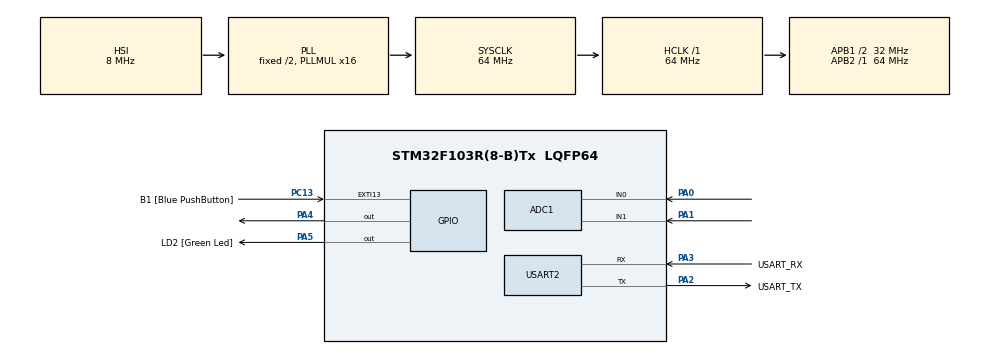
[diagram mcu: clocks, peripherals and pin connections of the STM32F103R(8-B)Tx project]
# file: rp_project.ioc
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ADC1.Channel-0\#ChannelRegularConversion=ADC_CHANNEL_0
ADC1.Channel-2\#ChannelRegularConversion=ADC_CHANNEL_1
ADC1.ContinuousConvMode=DISABLE
ADC1.DiscontinuousConvMode=ENABLE
ADC1.NbrOfConversion=2
ADC1.NbrOfConversionFlag=1
ADC1.Rank-0\#ChannelRegularConversion=1
ADC1.Rank-2\#ChannelRegularConversion=2
ADC1.SamplingTime-0\#ChannelRegularConversion=ADC_SAMPLETIME_1CYCLE_5
ADC1.SamplingTime-2\#ChannelRegularConversion=ADC_SAMPLETIME_1CYCLE_5
ADC1.master=1
Mcu.Family=STM32F1
Mcu.Name=STM32F103R(8-B)Tx
Mcu.Package=LQFP64
NVIC.EXTI15_10_IRQn=true\:0\:0\:false\:false\:true\:true\:true\:true
NVIC.PriorityGroup=NVIC_PRIORITYGROUP_4
PA0-WKUP.Signal=ADCx_IN0
PA1.Signal=ADCx_IN1
PA13.GPIO_Label=TMS
PA13.Mode=Serial_Wire
PA13.Signal=SYS_JTMS-SWDIO
PA14.GPIO_Label=TCK
PA14.Mode=Serial_Wire
PA14.Signal=SYS_JTCK-SWCLK
PA2.GPIO_Label=USART_TX
PA2.GPIO_Mode=GPIO_MODE_AF_PP
PA2.GPIO_PuPd=GPIO_NOPULL
PA2.GPIO_Speed=GPIO_SPEED_FREQ_LOW
PA2.Mode=Asynchronous
PA2.Signal=USART2_TX
PA3.GPIO_Label=USART_RX
PA3.GPIO_Mode=GPIO_MODE_AF_PP
PA3.GPIO_PuPd=GPIO_NOPULL
PA3.GPIO_Speed=GPIO_SPEED_FREQ_LOW
PA3.Mode=Asynchronous
PA3.Signal=USART2_RX
PA4.Signal=GPIO_Output
PA5.GPIO_Label=LD2 [Green Led]
PA5.GPIO_ModeDefaultOutputPP=GPIO_MODE_OUTPUT_PP
PA5.GPIO_PuPd=GPIO_NOPULL
PA5.GPIO_Speed=GPIO_SPEED_FREQ_LOW
PA5.Signal=GPIO_Output
PB3.GPIO_Label=SWO
PB3.Signal=SYS_JTDO-TRACESWO
PC13-TAMPER-RTC.GPIO_Label=B1 [Blue PushButton]
PC13-TAMPER-RTC.GPIO_PuPd=GPIO_NOPULL
PC13-TAMPER-RTC.Signal=GPXTI13
PC14-OSC32_IN.Mode=LSE-External-Oscillator
PC14-OSC32_IN.Signal=RCC_OSC32_IN
PC15-OSC32_OUT.Mode=LSE-External-Oscillator
PC15-OSC32_OUT.Signal=RCC_OSC32_OUT
PD0-OSC_IN.Mode=HSE-External-Clock-Source
PD0-OSC_IN.Signal=RCC_OSC_IN
PD1-OSC_OUT.Mode=HSE-External-Clock-Source
PD1-OSC_OUT.Signal=RCC_OSC_OUT
ProjectManager.HeapSize=0x200
ProjectManager.StackSize=0x400
ProjectManager.TargetToolchain=STM32CubeIDE
RCC.ADCPresc=RCC_ADCPCLK2_DIV8
RCC.AHBFreq_Value=64000000
RCC.APB1CLKDivider=RCC_HCLK_DIV2
RCC.APB1Freq_Value=32000000
RCC.APB1TimFreq_Value=64000000
RCC.APB2Freq_Value=64000000
RCC.APB2TimFreq_Value=64000000
RCC.HCLKFreq_Value=64000000
RCC.PLLMUL=RCC_PLL_MUL16
RCC.RTCClockSelection=RCC_RTCCLKSOURCE_LSE
RCC.SYSCLKFreq_VALUE=64000000
RCC.SYSCLKSource=RCC_SYSCLKSOURCE_PLLCLK
RCC.USBFreq_Value=64000000
SH.ADCx_IN0.0=ADC1_IN0,IN0
SH.ADCx_IN1.0=ADC1_IN1,IN1
TIM1.AutoReloadPreload=TIM_AUTORELOAD_PRELOAD_DISABLE
TIM1.Prescaler=64-1
USART2.VirtualMode=VM_ASYNC
VP_TIM1_VS_ClockSourceINT.Mode=Internal
board=NUCLEO-F103RB

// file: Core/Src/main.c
/* USER CODE BEGIN Header */
/**
  ******************************************************************************
  * @file           : main.c
  * @brief          : Main program body
  ******************************************************************************
  * @attention
  *
  * Copyright (c) 2022 STMicroelectronics.
  * All rights reserved.
  *
  * This software is licensed under terms that can be found in the LICENSE file
  * in the root directory of this software component.
  * If no LICENSE file comes with this software, it is provided AS-IS.
  *
  ******************************************************************************
  */
/* USER CODE END Header */
#include "main.h"

/* USER CODE BEGIN Includes */
#include "stdio.h"
/* USER CODE END Includes */

 ADC_HandleTypeDef hadc1;

TIM_HandleTypeDef htim1;

UART_HandleTypeDef huart2;

void SystemClock_Config(void);
static void MX_GPIO_Init(void);
static void MX_USART2_UART_Init(void);
static void MX_ADC1_Init(void);
static void MX_TIM1_Init(void);
/* USER CODE BEGIN PFP */
#ifdef __GNUC__
/* With GCC, small printf (option LD Linker->Libraries->Small printf
   set to 'Yes') calls __io_putchar() */
#define PUTCHAR_PROTOTYPE int __io_putchar(int ch)
#else
#define PUTCHAR_PROTOTYPE int fputc(int ch, FILE *f)
#endif /* __GNUC__ */

/* USER CODE END PFP */

/* USER CODE BEGIN 0 */
void delay_us(uint16_t time)
{
	__HAL_TIM_SET_COUNTER(&htim1, 0);
	while((__HAL_TIM_GET_COUNTER(&htim1)) < time);
}

uint8_t RH_integral, RH_decimal, T_integral, T_decimal;
uint8_t CheckSUM, Presence = 0;

void Set_Pin_Output(GPIO_TypeDef *GPIOx, uint16_t GPIO_Pin)
{
	GPIO_InitTypeDef GPIO_InitStruct = {0};
	GPIO_InitStruct.Pin = GPIO_Pin;
	GPIO_InitStruct.Mode = GPIO_MODE_OUTPUT_PP;
	GPIO_InitStruct.Speed = GPIO_SPEED_FREQ_LOW;
	HAL_GPIO_Init(GPIOx, &GPIO_InitStruct);
}

void Set_Pin_Input(GPIO_TypeDef *GPIOx, uint16_t GPIO_Pin)
{
	GPIO_InitTypeDef GPIO_InitStruct = {0};
	GPIO_InitStruct.Pin = GPIO_Pin;
	GPIO_InitStruct.Mode = GPIO_MODE_INPUT;
	GPIO_InitStruct.Pull = GPIO_PULLUP;
	HAL_GPIO_Init(GPIOx, &GPIO_InitStruct);
}

void DHT11_Start(void)
{
	Set_Pin_Output(GPIOA, GPIO_PIN_4);
	HAL_GPIO_WritePin(GPIOA, GPIO_PIN_4, GPIO_PIN_RESET);
	HAL_Delay(18);
	HAL_GPIO_WritePin(GPIOA, GPIO_PIN_4, GPIO_PIN_SET);
	delay_us(20);
	Set_Pin_Input(GPIOA, GPIO_PIN_4);
}

uint8_t DHT11_check_Response(void)
{
	uint8_t Response = 0;
	delay_us(40);
	if(!(HAL_GPIO_ReadPin(GPIOA, GPIO_PIN_4)))
	{
		delay_us(80);
		if((HAL_GPIO_ReadPin(GPIOA, GPIO_PIN_4))) Response = 1;
		else Response = -1;
	}
	while((HAL_GPIO_ReadPin(GPIOA, GPIO_PIN_4)));

	return Response;
}

uint8_t DHT11_Read(void)
{
	uint8_t data;
	for(uint8_t i = 0; i < 8; i++)
	{
		while(!(HAL_GPIO_ReadPin(GPIOA, GPIO_PIN_4)));
		delay_us(40);
		if(!(HAL_GPIO_ReadPin(GPIOA, GPIO_PIN_4)))
		{
			data = (data << 1);
		}
		else data = (data << 1) + 1;

		while((HAL_GPIO_ReadPin(GPIOA, GPIO_PIN_4)));
	}
	return data;
}
/* USER CODE END 0 */

int main(void)
{

  /* MCU Configuration--------------------------------------------------------*/

  /* Reset of all peripherals, Initializes the Flash interface and the Systick. */
  HAL_Init();

  /* Configure the system clock */
  SystemClock_Config();

  /* Initialize all configured peripherals */
  MX_GPIO_Init();
  MX_USART2_UART_Init();
  MX_ADC1_Init();
  MX_TIM1_Init();
  /* USER CODE BEGIN 2 */
//  uint32_t flame;
//  uint32_t cds;
  uint32_t ADC_DATA[2];
  HAL_TIM_Base_Start(&htim1);
  /* USER CODE END 2 */

  /* Infinite loop */
  /* USER CODE BEGIN WHILE */
  while (1)
  {
	  DHT11_Start();
	  DHT11_check_Response();

	  RH_integral = DHT11_Read();
	  RH_decimal = DHT11_Read();
	  T_integral = DHT11_Read();
	  T_decimal = DHT11_Read();
	  CheckSUM = DHT11_Read();

	  if((RH_integral + RH_decimal + T_integral + T_decimal) == CheckSUM)
	  {
		  printf("TEMPERATURE : %d.%d C\n", T_integral, T_decimal);
		  printf("HUMIDITY : 	%d.%d %%\n", RH_integral, RH_decimal);
	  }

	  else
	  {
		  printf("DHT11 ERROR!!\n");
	  }

	HAL_ADC_Start(&hadc1);
	HAL_ADC_PollForConversion(&hadc1, 10);
	ADC_DATA[0] = HAL_ADC_GetValue(&hadc1);

	HAL_ADC_Start(&hadc1);
	HAL_ADC_PollForConversion(&hadc1, 10);
	ADC_DATA[1] = HAL_ADC_GetValue(&hadc1);

	printf("ADC_DATA : %d    %d\n\r", ADC_DATA[0], ADC_DATA[1]);
	HAL_Delay(1000);
    /* USER CODE END WHILE */

  }
}

void SystemClock_Config(void)
{
  RCC_OscInitTypeDef RCC_OscInitStruct = {0};
  RCC_ClkInitTypeDef RCC_ClkInitStruct = {0};
  RCC_PeriphCLKInitTypeDef PeriphClkInit = {0};

  /** Initializes the RCC Oscillators according to the specified parameters
  * in the RCC_OscInitTypeDef structure.
  */
  RCC_OscInitStruct.OscillatorType = RCC_OSCILLATORTYPE_HSI;
  RCC_OscInitStruct.HSIState = RCC_HSI_ON;
  RCC_OscInitStruct.HSICalibrationValue = RCC_HSICALIBRATION_DEFAULT;
  RCC_OscInitStruct.PLL.PLLState = RCC_PLL_ON;
  RCC_OscInitStruct.PLL.PLLSource = RCC_PLLSOURCE_HSI_DIV2;
  RCC_OscInitStruct.PLL.PLLMUL = RCC_PLL_MUL16;
  if (HAL_RCC_OscConfig(&RCC_OscInitStruct) != HAL_OK)
  {
    Error_Handler();
  }

  /** Initializes the CPU, AHB and APB buses clocks
  */
  RCC_ClkInitStruct.ClockType = RCC_CLOCKTYPE_HCLK|RCC_CLOCKTYPE_SYSCLK
                              |RCC_CLOCKTYPE_PCLK1|RCC_CLOCKTYPE_PCLK2;
  RCC_ClkInitStruct.SYSCLKSource = RCC_SYSCLKSOURCE_PLLCLK;
  RCC_ClkInitStruct.AHBCLKDivider = RCC_SYSCLK_DIV1;
  RCC_ClkInitStruct.APB1CLKDivider = RCC_HCLK_DIV2;
  RCC_ClkInitStruct.APB2CLKDivider = RCC_HCLK_DIV1;

  if (HAL_RCC_ClockConfig(&RCC_ClkInitStruct, FLASH_LATENCY_2) != HAL_OK)
  {
    Error_Handler();
  }
  PeriphClkInit.PeriphClockSelection = RCC_PERIPHCLK_ADC;
  PeriphClkInit.AdcClockSelection = RCC_ADCPCLK2_DIV8;
  if (HAL_RCCEx_PeriphCLKConfig(&PeriphClkInit) != HAL_OK)
  {
    Error_Handler();
  }
}

static void MX_ADC1_Init(void)
{

  ADC_ChannelConfTypeDef sConfig = {0};

  /** Common config
  */
  hadc1.Instance = ADC1;
  hadc1.Init.ScanConvMode = ADC_SCAN_ENABLE;
  hadc1.Init.ContinuousConvMode = DISABLE;
  hadc1.Init.DiscontinuousConvMode = ENABLE;
  hadc1.Init.NbrOfDiscConversion = 1;
  hadc1.Init.ExternalTrigConv = ADC_SOFTWARE_START;
  hadc1.Init.DataAlign = ADC_DATAALIGN_RIGHT;
  hadc1.Init.NbrOfConversion = 2;
  if (HAL_ADC_Init(&hadc1) != HAL_OK)
  {
    Error_Handler();
  }

  /** Configure Regular Channel
  */
  sConfig.Channel = ADC_CHANNEL_0;
  sConfig.Rank = ADC_REGULAR_RANK_1;
  sConfig.SamplingTime = ADC_SAMPLETIME_1CYCLE_5;
  if (HAL_ADC_ConfigChannel(&hadc1, &sConfig) != HAL_OK)
  {
    Error_Handler();
  }

  /** Configure Regular Channel
  */
  sConfig.Channel = ADC_CHANNEL_1;
  sConfig.Rank = ADC_REGULAR_RANK_2;
  if (HAL_ADC_ConfigChannel(&hadc1, &sConfig) != HAL_OK)
  {
    Error_Handler();
  }

}

static void MX_TIM1_Init(void)
{

  TIM_ClockConfigTypeDef sClockSourceConfig = {0};
  TIM_MasterConfigTypeDef sMasterConfig = {0};

  htim1.Instance = TIM1;
  htim1.Init.Prescaler = 64-1;
  htim1.Init.CounterMode = TIM_COUNTERMODE_UP;
  htim1.Init.Period = 65535;
  htim1.Init.ClockDivision = TIM_CLOCKDIVISION_DIV1;
  htim1.Init.RepetitionCounter = 0;
  htim1.Init.AutoReloadPreload = TIM_AUTORELOAD_PRELOAD_DISABLE;
  if (HAL_TIM_Base_Init(&htim1) != HAL_OK)
  {
    Error_Handler();
  }
  sClockSourceConfig.ClockSource = TIM_CLOCKSOURCE_INTERNAL;
  if (HAL_TIM_ConfigClockSource(&htim1, &sClockSourceConfig) != HAL_OK)
  {
    Error_Handler();
  }
  sMasterConfig.MasterOutputTrigger = TIM_TRGO_RESET;
  sMasterConfig.MasterSlaveMode = TIM_MASTERSLAVEMODE_DISABLE;
  if (HAL_TIMEx_MasterConfigSynchronization(&htim1, &sMasterConfig) != HAL_OK)
  {
    Error_Handler();
  }

}

static void MX_USART2_UART_Init(void)
{

  huart2.Instance = USART2;
  huart2.Init.BaudRate = 115200;
  huart2.Init.WordLength = UART_WORDLENGTH_8B;
  huart2.Init.StopBits = UART_STOPBITS_1;
  huart2.Init.Parity = UART_PARITY_NONE;
  huart2.Init.Mode = UART_MODE_TX_RX;
  huart2.Init.HwFlowCtl = UART_HWCONTROL_NONE;
  huart2.Init.OverSampling = UART_OVERSAMPLING_16;
  if (HAL_UART_Init(&huart2) != HAL_OK)
  {
    Error_Handler();
  }

}

static void MX_GPIO_Init(void)
{
  GPIO_InitTypeDef GPIO_InitStruct = {0};

  /* GPIO Ports Clock Enable */
  __HAL_RCC_GPIOC_CLK_ENABLE();
  __HAL_RCC_GPIOD_CLK_ENABLE();
  __HAL_RCC_GPIOA_CLK_ENABLE();
  __HAL_RCC_GPIOB_CLK_ENABLE();

  /*Configure GPIO pin Output Level */
  HAL_GPIO_WritePin(GPIOA, GPIO_PIN_4|LD2_Pin, GPIO_PIN_RESET);

  /*Configure GPIO pin : B1_Pin */
  GPIO_InitStruct.Pin = B1_Pin;
  GPIO_InitStruct.Mode = GPIO_MODE_IT_RISING;
  GPIO_InitStruct.Pull = GPIO_NOPULL;
  HAL_GPIO_Init(B1_GPIO_Port, &GPIO_InitStruct);

  /*Configure GPIO pins : PA4 LD2_Pin */
  GPIO_InitStruct.Pin = GPIO_PIN_4|LD2_Pin;
  GPIO_InitStruct.Mode = GPIO_MODE_OUTPUT_PP;
  GPIO_InitStruct.Pull = GPIO_NOPULL;
  GPIO_InitStruct.Speed = GPIO_SPEED_FREQ_LOW;
  HAL_GPIO_Init(GPIOA, &GPIO_InitStruct);

  /* EXTI interrupt init*/
  HAL_NVIC_SetPriority(EXTI15_10_IRQn, 0, 0);
  HAL_NVIC_EnableIRQ(EXTI15_10_IRQn);

}

/* USER CODE BEGIN 4 */
PUTCHAR_PROTOTYPE
{
  /* Place your implementation of fputc here */
  /* e.g. write a character to the USART1 and Loop until the end of transmission */
  HAL_UART_Transmit(&huart2, (uint8_t *)&ch, 1, 0xFFFF);

  return ch;
}
/* USER CODE END 4 */

void Error_Handler(void)
{
  __disable_irq();
  while (1)
  {
  }
}
